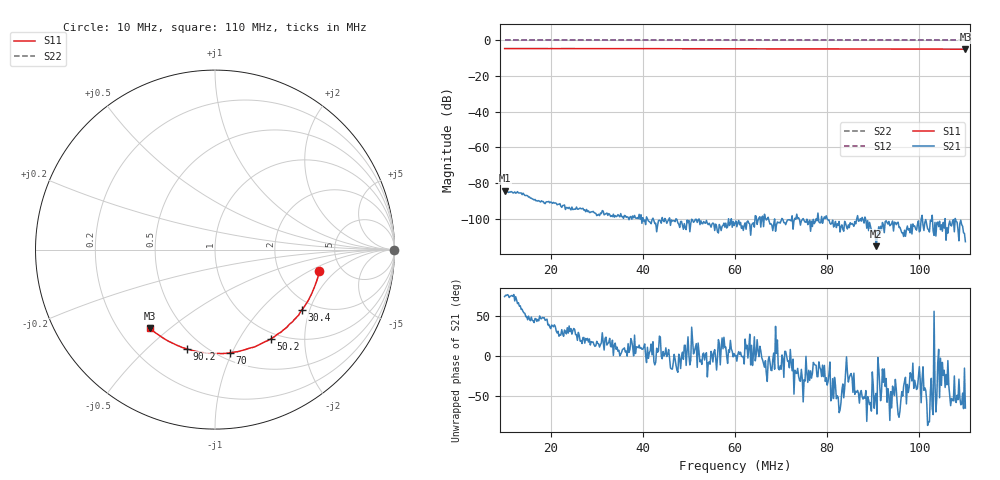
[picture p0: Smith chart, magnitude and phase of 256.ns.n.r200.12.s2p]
! Anritsu VNA Master:  Model: MS2036C/10/77
! SN:  1601066
! /card0/usr/256.ns.n.r200.12.s2p
! Existing Calibration Information:
! TYPE:  Current Settings,  Active Cal Settings
! TIME:  12/19/2017 04:07:37 PM,  12/19/2017 03:58:02 PM
! INTERNAL TEMP:  46.8 C,  47.0 C
! # POINTS:  501,  501
! START FREQ:  10.000 MHz,  10.000 MHz
! STOP FREQ:  110.000 MHz,  110.000 MHz
! SOURCE POWER:  High,  High
! IFBW:  100 Hz,  100 Hz
! AVG FACTOR:  1 ,  1
! REF PLANE 1:  0 mm,  0 mm
! REF PLANE 2:  0 mm,  0 mm
! CAL TYPE:  Full S11,  Full S11
! CAL METHOD:  SOLT,  SOLT
! CAL LINE TYPE:  Coax,  Coax
! DUT PORT 1:  N-Conn(F),  N-Conn(F)
! DUT PORT 2:  K-Conn(F),  K-Conn(F)
! CAL STATUS:  OK: Accuracy High,  --
# GHZ S DB R 50.0
! FREQ.GHZ  S11DB  S11A  S21DB  S21A  S12DB  S12A  S22DB  S22A
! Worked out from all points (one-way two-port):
!   501 points, 10 MHz to 110 MHz, reference 50 ohm
!   highest |S21| = -84.22 dB at 10 MHz (marker M1); lowest = -115.4 dB at 90.6 MHz (marker M2)
!   lowest |S11| = -4.9 dB at 110 MHz (marker M3), VSWR 3.63, Z = 16.6 - j21.5 ohm
!   |S11| at or under -10 dB: nowhere
!   |S22| runs from 0.0 to 0.0 dB; largest |S21 - S12| = 1
!   S11 on the Smith chart (normalised r, x): 10 MHz: 3.43, -1.24; 30.4 MHz: 1.71, -1.77; 50.2 MHz: 0.91, -1.38; 70 MHz: 0.57, -0.98; 90.2 MHz: 0.41, -0.67; 110 MHz: 0.33, -0.43
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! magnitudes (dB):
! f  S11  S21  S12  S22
! 10 MHz  -4.5  -84.2  0.0  0.0
! 26.8 MHz  -4.6  -94.3  0.0  0.0
! 30.4 MHz  -4.6  -97.5  0.0  0.0
! 33.2 MHz  -4.6  -98.3  0.0  0.0
! 37.2 MHz  -4.6  -99.0  0.0  0.0
! 38.8 MHz  -4.6  -99.4  0.0  0.0
! 40.8 MHz  -4.6  -98.9  0.0  0.0
! 43.4 MHz  -4.6  -101.0  0.0  0.0
! 46.2 MHz  -4.6  -100.7  0.0  0.0
! 50.2 MHz  -4.6  -107.3  0.0  0.0
! 53.6 MHz  -4.7  -102.5  0.0  0.0
! 58.2 MHz  -4.7  -105.2  0.0  0.0
! 60 MHz  -4.7  -102.3  0.0  0.0
! 70 MHz  -4.7  -101.2  0.0  0.0
! 73.6 MHz  -4.7  -99.8  0.0  0.0
! 76.8 MHz  -4.8  -104.4  0.0  0.0
! 81 MHz  -4.8  -102.4  0.0  0.0
! 83.4 MHz  -4.8  -105.9  0.0  0.0
! 90.2 MHz  -4.8  -106.7  0.0  0.0
! 90.6 MHz  -4.8  -115.4  0.0  0.0
! 93.4 MHz  -4.8  -101.5  0.0  0.0
! 110 MHz  -4.9  -112.9  0.0  0.0
